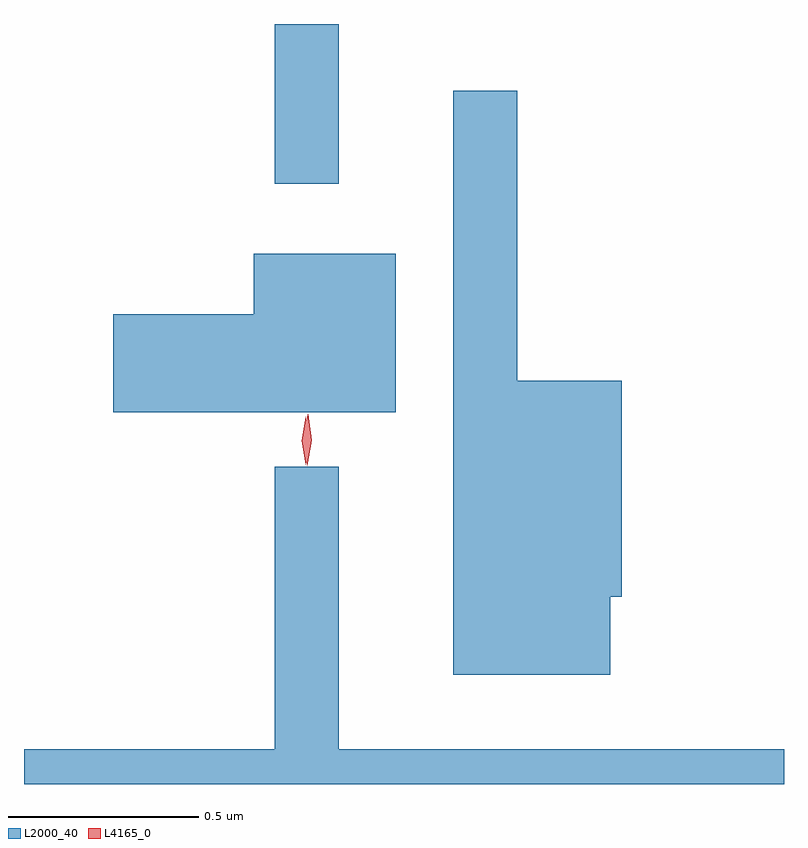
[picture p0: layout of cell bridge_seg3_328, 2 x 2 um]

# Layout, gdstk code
import gdstk
lib = gdstk.Library(unit=1e-6, precision=1e-09)
def R(c, l, rs):  # rectangles x0, y0, x1, y1
    for r in rs: c.add(gdstk.rectangle(r[:2], r[2:], *l))
def P(c, l, *ps):  # polygons
    for p in ps: c.add(gdstk.Polygon(p, *l))
L2000_40 = (2000, 40)
L4165_0 = (4165, 0)

bridge_seg3_328 = lib.new_cell('bridge_seg3_328')
R(bridge_seg3_328, L2000_40, [(538.731,1156.633,538.899,1157.053)])
P(bridge_seg3_328, L2000_40, [(539.614,1155.546),(539.644,1155.546),(539.644,1156.114),(539.369,1156.114),(539.369,1156.878),(539.201,1156.878),(539.201,1155.341),(539.614,1155.341)],
  [(539.049,1156.449),(538.676,1156.449),(538.676,1156.289),(538.306,1156.289),(538.306,1156.031),(539.049,1156.031)],
  [(540.071,1155.144),(538.899,1155.144),(538.899,1155.888),(538.731,1155.888),(538.731,1155.144),(538.071,1155.144),(538.071,1155.053),(540.071,1155.053)])
P(bridge_seg3_328, L4165_0, [(538.812,1155.893),(538.812,1155.894),(538.802,1155.956),(538.812,1156.02),(538.812,1156.02),(538.813,1156.02),(538.822,1155.956),(538.813,1155.894)],
  [(538.816,1155.89),(538.808,1155.958),(538.818,1156.026),(538.818,1156.026),(538.819,1156.026),(538.828,1155.958),(538.817,1155.89),(538.817,1155.89)])

lib.write_gds('bridge_seg3_328.gds')
